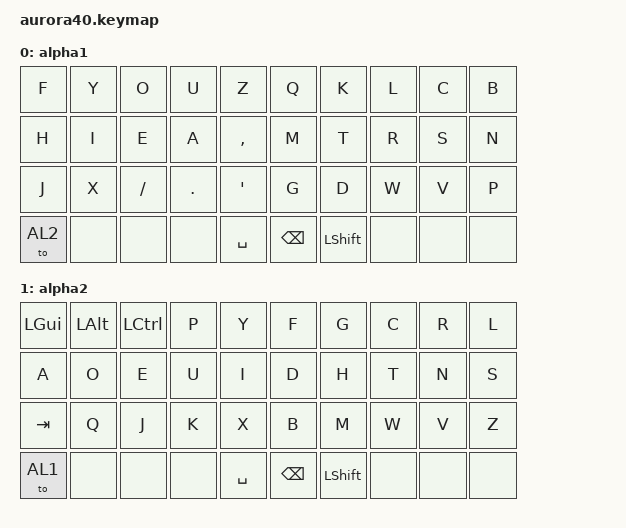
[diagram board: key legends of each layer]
#include <behaviors.dtsi>
#include <dt-bindings/zmk/keys.h>

/* Layers */
#define AL1 0
#define AL2 1

/ { 
    //      ----------------------    ----------------------
    //      | 00  01  02  03  04 |    | 05  06  07  08  09 |
    //      | 10  11  12  13  14 |    | 15  16  17  18  19 |
    //      | 20  21  22  23  24 |    | 25  26  27  28  29 |
    //      | 30  31  32  33  34 |    | 35  36  37  38  39 |
    //      ----------------------    ----------------------

    keymap {
        compatible = "zmk,keymap";

        // Heyyou!
        alpha1 {
            bindings = <
                &kp F       &kp Y       &kp O       &kp U       &kp Z               &kp Q      &kp K       &kp L       &kp C       &kp B
                &kp H       &kp I       &kp E       &kp A       &kp COMMA           &kp M      &kp T       &kp R       &kp S       &kp N
                &kp J       &kp X       &kp FSLH    &kp DOT     &kp APOS            &kp G      &kp D       &kp W       &kp V       &kp P
                &to AL2     &none       &none       &none       &kp SPACE           &kp BSPC   &kp LSHFT   &none       &none       &none
            >;
        };
        // Dvorak :(
        alpha2 {
            bindings = <
                &kp LGUI    &kp LALT    &kp LCTRL   &kp P       &kp Y               &kp F      &kp G       &kp C       &kp R       &kp L
                &kp A       &kp O       &kp E       &kp U       &kp I               &kp D      &kp H       &kp T       &kp N       &kp S
                &kp TAB     &kp Q       &kp J       &kp K       &kp X               &kp B      &kp M       &kp W       &kp V       &kp Z
                &to AL1     &none       &none       &none       &kp SPACE           &kp BSPC   &kp LSHFT   &none       &none       &none
            >;
        };
    };
};
